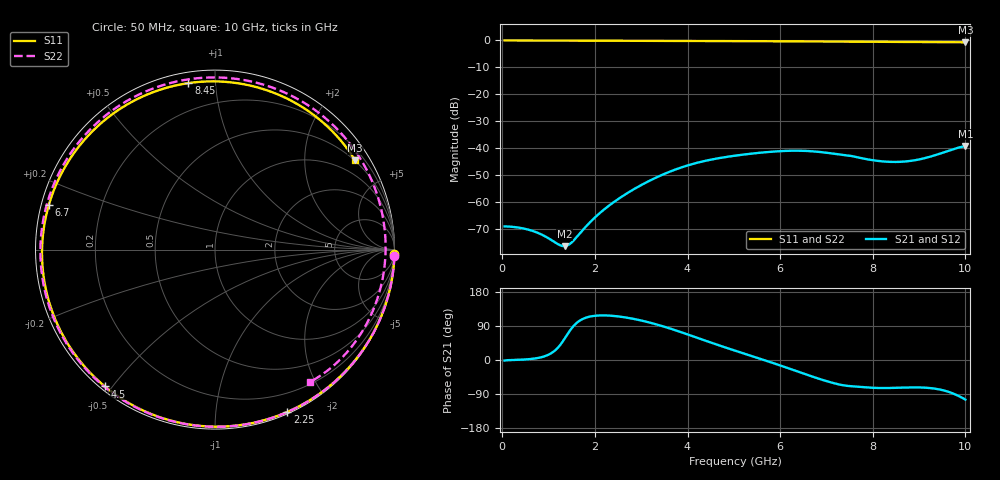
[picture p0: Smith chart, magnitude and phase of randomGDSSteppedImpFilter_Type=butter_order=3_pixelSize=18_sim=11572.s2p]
! freq	dB(S11)	phase(S11)	dB(S12)	phase(S12)
!  dB(S21)	phase(S21)	dB(S22)	phase(S22)
!S-par simulation data
#  GHz  S  DB  R 50
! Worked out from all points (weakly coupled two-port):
!   200 points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, 50 MHz to 10 GHz, reference 50 ohm
!   highest |S21| = -39.20 dB at 10 GHz (marker M1); lowest = -76.3 dB at 1.35 GHz (marker M2)
!   lowest |S11| = -0.7 dB at 10 GHz (marker M3), VSWR 25.89, Z = 24.2 + j168 ohm
!   |S11| at or under -10 dB: nowhere
!   |S22| runs from -0.8 to 0.0 dB; largest |S21 - S12| = 0
!   S11 on the Smith chart (normalised r, x): 50 MHz: 0, -76; 2.25 GHz: 0.02, -1.54; 4.5 GHz: 0.01, -0.48; 6.7 GHz: 0.02, +0.13; 8.45 GHz: 0.05, +0.85; 10 GHz: 0.48, +3.36
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0.05  -0.00 -1.5  -69.00 -1.3  -69.00 -1.3  -0.00 -2.1
0.65  -0.02 -19.5  -70.65 3.1  -70.65 3.1  -0.02 -27.3
1.35  -0.05 -40.1  -76.33 57.1  -76.33 57.1  -0.07 -55.9
1.5  -0.06 -44.4  -74.92 84.0  -74.92 84.0  -0.08 -61.9
1.75  -0.07 -51.7  -70.11 109.0  -70.11 109.0  -0.09 -71.8
2.25  -0.08 -66.0  -62.01 117.5  -62.01 117.5  -0.11 -91.2
2.8  -0.10 -81.5  -55.61 109.3  -55.61 109.3  -0.14 -112.1
3.4  -0.13 -98.2  -50.26 91.4  -50.26 91.4  -0.17 -134.7
3.95  -0.16 -113.5  -46.65 69.7  -46.65 69.7  -0.20 -155.3
4.5  -0.19 -128.8  -44.24 46.2  -44.24 46.2  -0.23 -176.2
5.05  -0.22 -144.4  -42.69 23.7  -42.69 23.7  -0.27 162.2
5.5  -0.26 -157.6  -41.77 5.9  -41.77 5.9  -0.30 143.9
5.95  -0.30 -171.1  -41.12 -12.2  -41.12 -12.2  -0.32 124.8
6.7  -0.37 164.8  -41.14 -44.0  -41.14 -44.0  -0.36 91.7
7.05  -0.40 152.8  -41.77 -57.5  -41.77 -57.5  -0.37 75.7
7.45  -0.45 138.4  -42.63 -68.3  -42.63 -68.3  -0.38 57.4
7.9  -0.49 121.3  -44.15 -72.7  -44.15 -72.7  -0.39 37.0
8.35  -0.53 103.2  -45.03 -73.9  -45.03 -73.9  -0.41 17.0
8.45  -0.54 99.1  -45.08 -73.6  -45.08 -73.6  -0.42 12.6
8.85  -0.58 82.2  -44.60 -72.4  -44.60 -72.4  -0.45 -4.5
9.25  -0.61 64.9  -43.08 -74.2  -43.08 -74.2  -0.51 -21.2
10  -0.67 32.5  -39.20 -104.5  -39.20 -104.5  -0.84 -54.1
